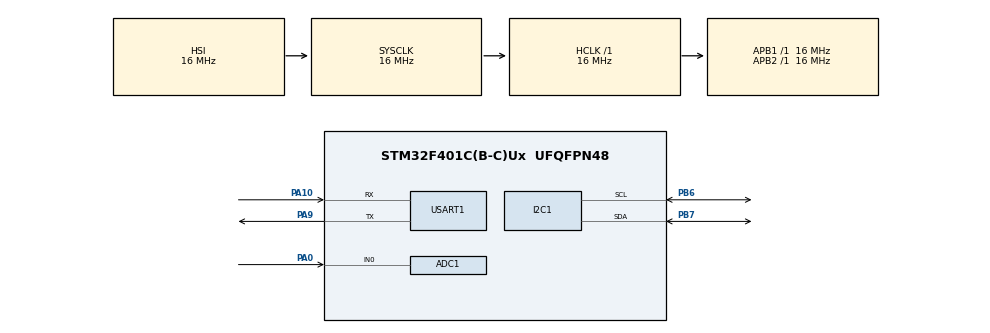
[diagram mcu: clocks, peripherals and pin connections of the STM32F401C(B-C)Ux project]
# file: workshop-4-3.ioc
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ADC1.Channel-0\#ChannelRegularConversion=ADC_CHANNEL_0
ADC1.NbrOfConversionFlag=1
ADC1.Rank-0\#ChannelRegularConversion=1
ADC1.SamplingTime-0\#ChannelRegularConversion=ADC_SAMPLETIME_480CYCLES
ADC1.master=1
Mcu.Family=STM32F4
Mcu.Name=STM32F401C(B-C)Ux
Mcu.Package=UFQFPN48
NVIC.PriorityGroup=NVIC_PRIORITYGROUP_4
PA0-WKUP.Signal=ADCx_IN0
PA10.Mode=Asynchronous
PA10.Signal=USART1_RX
PA13.Mode=Serial_Wire
PA13.Signal=SYS_JTMS-SWDIO
PA14.Mode=Serial_Wire
PA14.Signal=SYS_JTCK-SWCLK
PA9.Mode=Asynchronous
PA9.Signal=USART1_TX
PB6.Mode=I2C
PB6.Signal=I2C1_SCL
PB7.Mode=I2C
PB7.Signal=I2C1_SDA
ProjectManager.HeapSize=0x200
ProjectManager.StackSize=0x400
ProjectManager.TargetToolchain=STM32CubeIDE
RCC.AHBFreq_Value=16000000
RCC.APB1Freq_Value=16000000
RCC.APB2Freq_Value=16000000
RCC.CortexFreq_Value=16000000
RCC.HSE_VALUE=25000000
RCC.HSI_VALUE=16000000
RCC.LSE_VALUE=32768
RCC.SYSCLKFreq_VALUE=16000000
RCC.VCOOutputFreq_Value=192000000
SH.ADCx_IN0.0=ADC1_IN0,IN0
USART1.VirtualMode=VM_ASYNC
board=custom

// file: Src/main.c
/* USER CODE BEGIN Header */
/**
  ******************************************************************************
  * @file           : main.c
  * @brief          : Main program body
  ******************************************************************************
  */
/* USER CODE END Header */
#include "main.h"

/* USER CODE BEGIN Includes */
// Прикладні модулі: кожен володіє своїм шматком роботи і сам стежить за своїм
// таймером. Тут лишається тільки підняти периферію і крутити цикл.
#include "config.h"     // періоди, розмір буферів, швидкість консолі
#include "console.h"    // монітор порту через TTL-USB (USART1)
#include "ds1307.h"     // RTC на I2C1 (0x68)
#include "eeprom.h"     // журнал у зовнішній EEPROM на тій самій шині (0x50)
#include "light_log.h"  // освітлення + мітка часу -> EEPROM -> монітор порту
/* USER CODE END Includes */

/* USER CODE BEGIN PD */
// Налаштування (періоди, швидкість консолі) винесено в config.h
/* USER CODE END PD */

ADC_HandleTypeDef hadc1;

I2C_HandleTypeDef hi2c1;

UART_HandleTypeDef huart1;

/* USER CODE BEGIN PV */
// Стан прикладного рівня тримають самі модулі (light_log, console) — тут лише
// хендли периферії з CubeMX вище.
/* USER CODE END PV */

void SystemClock_Config(void);
static void MX_GPIO_Init(void);
static void MX_ADC1_Init(void);
static void MX_I2C1_Init(void);
static void MX_USART1_UART_Init(void);
/* USER CODE BEGIN PFP */
static void ReportBusDevices(void);
/* USER CODE END PFP */

/* USER CODE BEGIN 0 */
// Прикладна логіка живе в модулях поруч (Src/*.c): журнал освітлення з мітками
// часу (light_log) і консоль на TTL-USB (console). Тут лишається лише те, що
// генерує CubeMX: старт периферії й головний цикл.

// Показати в моніторі порту, хто відгукнувся на шині. Найчастіша причина
// "нічого не пишеться" — не приєднаний або не запитаний модуль RTC/EEPROM,
// тож нехай це буде видно з першого рядка, а не з мовчазного журналу.
static void ReportBusDevices(void)
{
    Console_Printf("I2C1: RTC 0x%02X %s, EEPROM 0x%02X %s",
                   DS1307_ADDR_7BIT,
                   (DS1307_IsReady(&hi2c1) == HAL_OK) ? "ok" : "MISSING",
                   EEPROM_ADDR_7BIT,
                   (EEPROM_IsReady(&hi2c1) == HAL_OK) ? "ok" : "MISSING");
}
/* USER CODE END 0 */

int main(void)
{

  /* MCU Configuration--------------------------------------------------------*/

  /* Reset of all peripherals, Initializes the Flash interface and the Systick. */
  HAL_Init();

  /* Configure the system clock */
  SystemClock_Config();

  /* Initialize all configured peripherals */
  MX_GPIO_Init();
  MX_ADC1_Init();
  MX_I2C1_Init();
  MX_USART1_UART_Init();
  /* USER CODE BEGIN 2 */
  // Консоль на TTL-USB: усе, що модулі хочуть сказати, іде туди.
  Console_Init(&huart1, &hi2c1);
  ReportBusDevices();

  // Нова (або довго знеструмлена) мікросхема прокидається зі спиненим
  // генератором — тоді всі мітки часу були б однакові.
  if (DS1307_EnsureRunning(&hi2c1)) {
    Console_Printf("RTC was halted, started; set the clock: time YY MM DD hh mm ss");
  }

  // Журнал: підхоплюємо вказівник з EEPROM і одразу показуємо, що там лежить
  // з минулого сеансу — це і є "зчитати дані з EEPROM і вивести в монітор порту".
  LightLog_Init(&hi2c1);
  LightLog_Dump();
  /* USER CODE END 2 */

  /* Infinite loop */
  /* USER CODE BEGIN WHILE */
  while (1)
  {
    // Кожен модуль неблокуюче перевіряє свій таймер (HAL_GetTick) і виконує
    // роботу лише коли настав його період — деталі у відповідному *.c.
    LightLog_Poll();   // раз на LOG_INTERVAL_MS: АЦП + RTC -> запис у EEPROM
    Console_Poll();    // команди з монітора порту (help/now/dump/clear/time)

    /* USER CODE END WHILE */

  }
}

void SystemClock_Config(void)
{
  RCC_OscInitTypeDef RCC_OscInitStruct = {0};
  RCC_ClkInitTypeDef RCC_ClkInitStruct = {0};

  /** Configure the main internal regulator output voltage
  */
  __HAL_RCC_PWR_CLK_ENABLE();
  __HAL_PWR_VOLTAGESCALING_CONFIG(PWR_REGULATOR_VOLTAGE_SCALE2);

  /** Initializes the RCC Oscillators according to the specified parameters
  * in the RCC_OscInitTypeDef structure.
  */
  RCC_OscInitStruct.OscillatorType = RCC_OSCILLATORTYPE_HSI;
  RCC_OscInitStruct.HSIState = RCC_HSI_ON;
  RCC_OscInitStruct.HSICalibrationValue = RCC_HSICALIBRATION_DEFAULT;
  RCC_OscInitStruct.PLL.PLLState = RCC_PLL_NONE;
  if (HAL_RCC_OscConfig(&RCC_OscInitStruct) != HAL_OK)
  {
    Error_Handler();
  }

  /** Initializes the CPU, AHB and APB buses clocks
  */
  RCC_ClkInitStruct.ClockType = RCC_CLOCKTYPE_HCLK|RCC_CLOCKTYPE_SYSCLK
                              |RCC_CLOCKTYPE_PCLK1|RCC_CLOCKTYPE_PCLK2;
  RCC_ClkInitStruct.SYSCLKSource = RCC_SYSCLKSOURCE_HSI;
  RCC_ClkInitStruct.AHBCLKDivider = RCC_SYSCLK_DIV1;
  RCC_ClkInitStruct.APB1CLKDivider = RCC_HCLK_DIV1;
  RCC_ClkInitStruct.APB2CLKDivider = RCC_HCLK_DIV1;

  if (HAL_RCC_ClockConfig(&RCC_ClkInitStruct, FLASH_LATENCY_0) != HAL_OK)
  {
    Error_Handler();
  }
}

static void MX_ADC1_Init(void)
{

  ADC_ChannelConfTypeDef sConfig = {0};

  /** Configure the global features of the ADC (Clock, Resolution, Data Alignment and number of conversion)
  */
  hadc1.Instance = ADC1;
  hadc1.Init.ClockPrescaler = ADC_CLOCK_SYNC_PCLK_DIV2;
  hadc1.Init.Resolution = ADC_RESOLUTION_12B;
  hadc1.Init.ScanConvMode = DISABLE;
  hadc1.Init.ContinuousConvMode = DISABLE;
  hadc1.Init.DiscontinuousConvMode = DISABLE;
  hadc1.Init.ExternalTrigConvEdge = ADC_EXTERNALTRIGCONVEDGE_NONE;
  hadc1.Init.ExternalTrigConv = ADC_SOFTWARE_START;
  hadc1.Init.DataAlign = ADC_DATAALIGN_RIGHT;
  hadc1.Init.NbrOfConversion = 1;
  hadc1.Init.DMAContinuousRequests = DISABLE;
  hadc1.Init.EOCSelection = ADC_EOC_SINGLE_CONV;
  if (HAL_ADC_Init(&hadc1) != HAL_OK)
  {
    Error_Handler();
  }

  /** Configure for the selected ADC regular channel its corresponding rank in the sequencer and its sample time.
  */
  sConfig.Channel = ADC_CHANNEL_0;
  sConfig.Rank = 1;
  sConfig.SamplingTime = ADC_SAMPLETIME_480CYCLES;
  if (HAL_ADC_ConfigChannel(&hadc1, &sConfig) != HAL_OK)
  {
    Error_Handler();
  }

}

static void MX_I2C1_Init(void)
{

  hi2c1.Instance = I2C1;
  hi2c1.Init.ClockSpeed = 100000;
  hi2c1.Init.DutyCycle = I2C_DUTYCYCLE_2;
  hi2c1.Init.OwnAddress1 = 0;
  hi2c1.Init.AddressingMode = I2C_ADDRESSINGMODE_7BIT;
  hi2c1.Init.DualAddressMode = I2C_DUALADDRESS_DISABLE;
  hi2c1.Init.OwnAddress2 = 0;
  hi2c1.Init.GeneralCallMode = I2C_GENERALCALL_DISABLE;
  hi2c1.Init.NoStretchMode = I2C_NOSTRETCH_DISABLE;
  if (HAL_I2C_Init(&hi2c1) != HAL_OK)
  {
    Error_Handler();
  }

}

static void MX_USART1_UART_Init(void)
{

  huart1.Instance = USART1;
  huart1.Init.BaudRate = 115200;
  huart1.Init.WordLength = UART_WORDLENGTH_8B;
  huart1.Init.StopBits = UART_STOPBITS_1;
  huart1.Init.Parity = UART_PARITY_NONE;
  huart1.Init.Mode = UART_MODE_TX_RX;
  huart1.Init.HwFlowCtl = UART_HWCONTROL_NONE;
  huart1.Init.OverSampling = UART_OVERSAMPLING_16;
  if (HAL_UART_Init(&huart1) != HAL_OK)
  {
    Error_Handler();
  }

}

static void MX_GPIO_Init(void)
{

  /* GPIO Ports Clock Enable */
  __HAL_RCC_GPIOA_CLK_ENABLE();
  __HAL_RCC_GPIOB_CLK_ENABLE();

}

void Error_Handler(void)
{
  __disable_irq();
  while (1)
  {
  }
}
